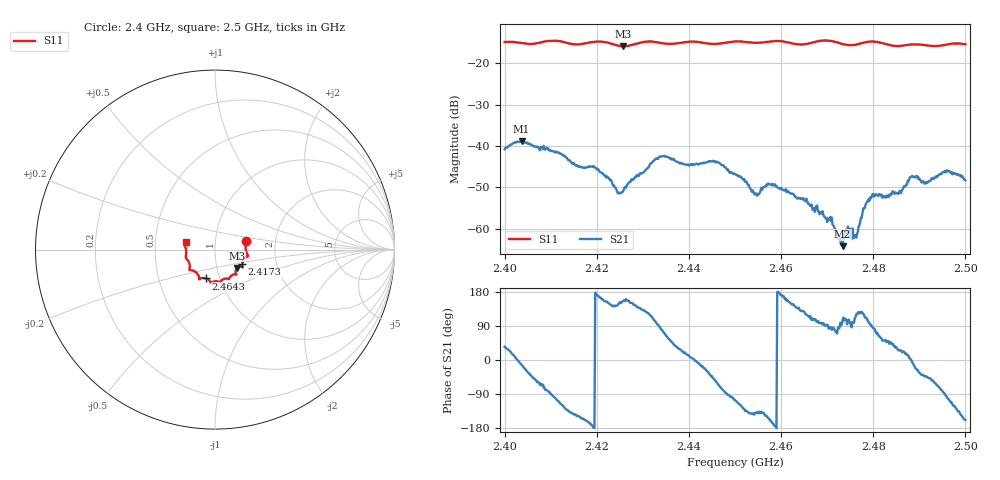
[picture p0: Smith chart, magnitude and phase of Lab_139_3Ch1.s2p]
# Hz S RI R 50
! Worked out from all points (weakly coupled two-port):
!   601 points, 2.4 GHz to 2.5 GHz, reference 50 ohm
!   highest |S21| = -38.89 dB at 2.4037 GHz (marker M1); lowest = -64.2 dB at 2.4733 GHz (marker M2)
!   lowest |S11| = -15.9 dB at 2.4257 GHz (marker M3), VSWR 1.38, Z = 62.5 - j13.1 ohm
!   |S11| at or under -10 dB: start of sweep to end of sweep
!   S12 and S22 are empty: the file has one direction only
!   S11 on the Smith chart (normalised r, x): 2.4 GHz: 1.41, +0.14; 2.4173 GHz: 1.34, -0.23; 2.4643 GHz: 0.86, -0.28; 2.5 GHz: 0.72, +0.06
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2.4e9  0.1733 0.0486  0.00749 0.00524  0 0  0 0
2.403667e9  0.1731 0.0285  0.0111 -0.0026  0 0  0 0
2.416667e9  0.1529 -0.0747  -0.00501 -0.00246  0 0  0 0
2.417333e9  0.1519 -0.0822  -0.00501 -0.00203  0 0  0 0
2.425667e9  0.1228 -0.1025  -0.00256 0.00118  0 0  0 0
2.433333e9  0.1129 -0.1372  -0.000362 0.00699  0 0  0 0
2.445667e9  0.0499 -0.1634  0.00388 -0.00528  0 0  0 0
2.45e9  0.0289 -0.1809  -0.00123 -0.00441  0 0  0 0
2.4545e9  0.00598 -0.1761  -0.00203 -0.00176  0 0  0 0
2.457667e9  -0.0176 -0.182  -0.0032 -0.00121  0 0  0 0
2.464333e9  -0.0499 -0.1606  -0.00146 0.00177  0 0  0 0
2.466667e9  -0.076 -0.1591  -0.000677 0.00183  0 0  0 0
2.470667e9  -0.0878 -0.1643  7.72e-05 0.00139  0 0  0 0
2.473333e9  -0.0929 -0.1432  -0.000155 0.000596  0 0  0 0
2.4745e9  -0.1018 -0.1309  -0.000217 0.00104  0 0  0 0
2.476167e9  -0.118 -0.1186  -0.000317 0.000732  0 0  0 0
2.4795e9  -0.1424 -0.1142  -2.27e-05 0.00233  0 0  0 0
2.483333e9  -0.1404 -0.0898  0.00155 0.00185  0 0  0 0
2.4885e9  -0.1617 -0.0478  0.00431 -0.000494  0 0  0 0
2.4915e9  -0.1616 -0.0304  0.00268 -0.00252  0 0  0 0
2.496e9  -0.1668 0.0197  -0.000797 -0.00502  0 0  0 0
2.5e9  -0.1637 0.0423  -0.00357 -0.00143  0 0  0 0
